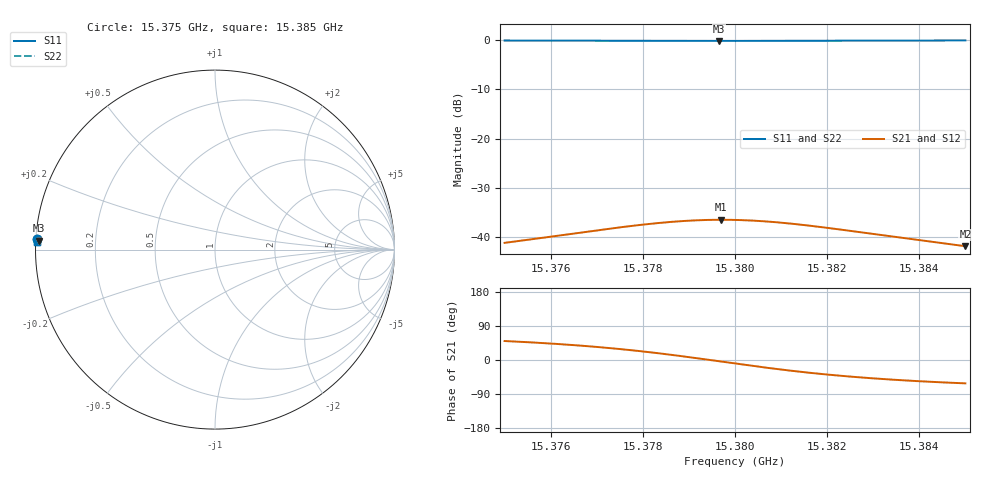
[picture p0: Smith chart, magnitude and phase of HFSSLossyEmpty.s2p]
! Variables:
!  a = 0.35in
!  d = 3.5in
!  f0_ideal = 15.3934197621267GHz
!  iris_radius = 0.0705in
!  iris_width = 0.04in
!  rwg_a = 0.622in
!  rwg_b = 0.311in
!  rwg_length = 0.3in
!Data is not renormalized
# GHz S MA
! Terminal data exported
! Port[1] = 1
! Port[2] = 2
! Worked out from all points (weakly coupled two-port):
!   501 points, 15.375 GHz to 15.385 GHz, reference per port
!   highest |S21| = -36.50 dB at 15.3797 GHz (marker M1); lowest = -41.9 dB at 15.385 GHz (marker M2)
!   lowest |S11| = -0.1 dB at 15.37966 GHz (marker M3), VSWR 120.44
!   |S11| at or under -10 dB: nowhere
!   |S22| runs from -0.1 to 0.0 dB; largest |S21 - S12| = 1e-16
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15.375  0.9933 176.7  0.008712 50.1  0.008712 50.1  0.9933 176.7
15.37552  0.9924 176.7  0.009383 46.9  0.009383 46.9  0.9924 176.7
15.37668  0.99 176.7  0.01113 37.6  0.01113 37.6  0.99 176.7
15.37722  0.9886 176.7  0.01204 32.1  0.01204 32.1  0.9886 176.7
15.37764  0.9875 176.8  0.01275 27.2  0.01275 27.2  0.9875 176.8
15.378  0.9864 176.8  0.01334 22.6  0.01334 22.6  0.9864 176.8
15.37834  0.9855 176.8  0.01386 17.8  0.01386 17.8  0.9855 176.8
15.3787  0.9847 176.9  0.01433 12.4  0.01433 12.4  0.9847 176.9
15.37902  0.9841 177.0  0.01465 7.3  0.01465 7.3  0.9841 177.0
15.37934  0.9837 177.1  0.01487 2.0  0.01487 2.0  0.9837 177.0
15.37966  0.9835 177.1  0.01495 -3.4  0.01495 -3.4  0.9835 177.1
15.3797  0.9835 177.1  0.01495 -4.1  0.01495 -4.1  0.9835 177.1
15.38  0.9837 177.2  0.0149 -9.2  0.0149 -9.2  0.9837 177.2
15.38038  0.9842 177.3  0.01467 -15.5  0.01467 -15.5  0.9842 177.3
15.38078  0.985 177.4  0.01426 -21.8  0.01426 -21.8  0.985 177.4
15.3812  0.9861 177.5  0.01368 -28.0  0.01368 -28.0  0.9861 177.5
15.38168  0.9875 177.5  0.01292 -34.5  0.01292 -34.5  0.9875 177.5
15.3823  0.9893 177.6  0.01187 -41.7  0.01187 -41.7  0.9893 177.6
15.38334  0.9917 177.6  0.0102 -51.3  0.0102 -51.3  0.9917 177.6
15.38434  0.9935 177.5  0.008824 -58.1  0.008824 -58.1  0.9935 177.5
15.3849  0.9942 177.5  0.008169 -61.2  0.008169 -61.2  0.9942 177.5
15.385  0.9943 177.5  0.00806 -61.6  0.00806 -61.6  0.9943 177.5
